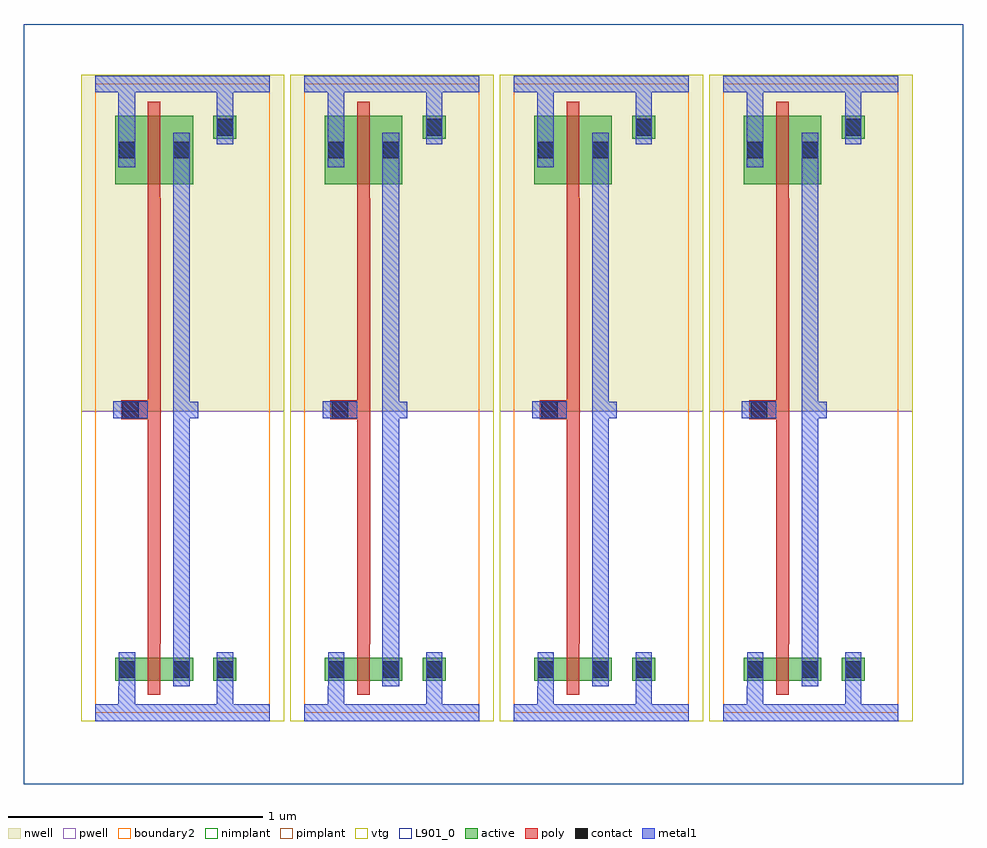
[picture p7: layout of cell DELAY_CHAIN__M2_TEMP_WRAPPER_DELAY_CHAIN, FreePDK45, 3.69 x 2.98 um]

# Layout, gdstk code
import gdstk
lib = gdstk.Library(unit=1e-6, precision=1e-09)
def R(c, l, rs):  # rectangles x0, y0, x1, y1
    for r in rs: c.add(gdstk.rectangle(r[:2], r[2:], *l))
active = (1, 0)
pwell = (2, 0)
nwell = (3, 0)
nimplant = (4, 0)
pimplant = (5, 0)
vtg = (6, 0)
poly = (9, 0)
contact = (10, 0)
metal1 = (11, 0)
boundary2 = (239, 0)
L901_0 = (901, 0)

delay_chain__delay_chain = lib.new_cell('DELAY_CHAIN__DELAY_CHAIN__sram_1rw_32x16_freepdk45_contact_11')
R(delay_chain__delay_chain, active, [(0,0.022,0.09,0.112)])
R(delay_chain__delay_chain, nwell, [(-0.055,-0.033,0.145,0.168)])
R(delay_chain__delay_chain, pimplant, [(0,0.022,0.09,0.112)])
R(delay_chain__delay_chain, contact, [(0.013,0.035,0.077,0.1)])
R(delay_chain__delay_chain, metal1, [(0.013,0,0.077,0.135)])
R(delay_chain__delay_chain, boundary2, [(-0.055,-0.033,0.145,0.168)])

c_delay_chain__delay_chain = lib.new_cell('DELAY_CHAIN__DELAY_CHAIN__sram_1rw_32x16_freepdk45_pmos_m1_w0_270_sm1_dm1_da_p')
R(c_delay_chain__delay_chain, active, [(0,0,0.305,0.27)])
R(c_delay_chain__delay_chain, nwell, [(-0.08,-0.08,0.385,0.35)])
R(c_delay_chain__delay_chain, pimplant, [(0,0,0.305,0.27)])
R(c_delay_chain__delay_chain, vtg, [(-0.08,-0.08,0.385,0.35)])
R(c_delay_chain__delay_chain, poly, [(0.127,-0.055,0.177,0.325), (0.127,-0.055,0.177,0.325)])
R(c_delay_chain__delay_chain, metal1, [(0.013,0.068,0.077,0.203), (0.227,0.068,0.292,0.203)])
R(c_delay_chain__delay_chain, boundary2, [(-0.08,-0.08,0.385,0.35)])
c_delay_chain__delay_chain.add(gdstk.Reference(delay_chain__delay_chain, (0,0.068)))
c_delay_chain__delay_chain.add(gdstk.Reference(delay_chain__delay_chain, (0.215,0.068)))
c_delay_chain__delay_chain.add(gdstk.Label('G', (0.152,0.135), layer=9, texttype=0))
c_delay_chain__delay_chain.add(gdstk.Label('S', (0.045,0.135), layer=11, texttype=0))
c_delay_chain__delay_chain.add(gdstk.Label('D', (0.26,0.135), layer=11, texttype=0))

c_delay_chain__delay_chain_ = lib.new_cell('DELAY_CHAIN__DELAY_CHAIN__sram_1rw_32x16_freepdk45_contact_10')
R(c_delay_chain__delay_chain_, active, [(0,0.022,0.09,0.112)])
R(c_delay_chain__delay_chain_, pwell, [(-0.055,-0.033,0.145,0.168)])
R(c_delay_chain__delay_chain_, nimplant, [(0,0.022,0.09,0.112)])
R(c_delay_chain__delay_chain_, contact, [(0.013,0.035,0.077,0.1)])
R(c_delay_chain__delay_chain_, metal1, [(0.013,0,0.077,0.135)])
R(c_delay_chain__delay_chain_, boundary2, [(-0.055,-0.033,0.145,0.168)])

c_delay_chain__delay_chain__ = lib.new_cell('DELAY_CHAIN__DELAY_CHAIN__sram_1rw_32x16_freepdk45_nmos_m1_w0_090_sm1_dm1_da_p')
R(c_delay_chain__delay_chain__, active, [(0,0,0.305,0.09)])
R(c_delay_chain__delay_chain__, pwell, [(-0.08,-0.08,0.385,0.17)])
R(c_delay_chain__delay_chain__, nimplant, [(0,0,0.305,0.09)])
R(c_delay_chain__delay_chain__, vtg, [(-0.08,-0.08,0.385,0.17)])
R(c_delay_chain__delay_chain__, poly, [(0.127,-0.055,0.177,0.145), (0.127,-0.055,0.177,0.145)])
R(c_delay_chain__delay_chain__, metal1, [(0.013,-0.022,0.077,0.112), (0.227,-0.022,0.292,0.112)])
R(c_delay_chain__delay_chain__, boundary2, [(-0.08,-0.08,0.385,0.17)])
c_delay_chain__delay_chain__.add(gdstk.Reference(c_delay_chain__delay_chain_, (0,-0.022)))
c_delay_chain__delay_chain__.add(gdstk.Reference(c_delay_chain__delay_chain_, (0.215,-0.022)))
c_delay_chain__delay_chain__.add(gdstk.Label('G', (0.152,0.045), layer=9, texttype=0))
c_delay_chain__delay_chain__.add(gdstk.Label('S', (0.045,0.045), layer=11, texttype=0))
c_delay_chain__delay_chain__.add(gdstk.Label('D', (0.26,0.045), layer=11, texttype=0))

c_delay_chain__delay_chain___ = lib.new_cell('DELAY_CHAIN__DELAY_CHAIN__sram_1rw_32x16_freepdk45_contact_12')
R(c_delay_chain__delay_chain___, active, [(0,0.022,0.09,0.112)])
R(c_delay_chain__delay_chain___, nwell, [(-0.055,-0.033,0.145,0.168)])
R(c_delay_chain__delay_chain___, nimplant, [(0,0.022,0.09,0.112)])
R(c_delay_chain__delay_chain___, contact, [(0.013,0.035,0.077,0.1)])
R(c_delay_chain__delay_chain___, metal1, [(0.013,0,0.077,0.135)])
R(c_delay_chain__delay_chain___, boundary2, [(-0.055,-0.033,0.145,0.168)])

c_delay_chain__delay_chain____ = lib.new_cell('DELAY_CHAIN__DELAY_CHAIN__sram_1rw_32x16_freepdk45_contact_13')
R(c_delay_chain__delay_chain____, active, [(0,0.022,0.09,0.112)])
R(c_delay_chain__delay_chain____, pwell, [(-0.055,-0.033,0.145,0.168)])
R(c_delay_chain__delay_chain____, pimplant, [(0,0.022,0.09,0.112)])
R(c_delay_chain__delay_chain____, contact, [(0.013,0.035,0.077,0.1)])
R(c_delay_chain__delay_chain____, metal1, [(0.013,0,0.077,0.135)])
R(c_delay_chain__delay_chain____, boundary2, [(-0.055,-0.033,0.145,0.168)])

c_delay_chain__delay_chain_____ = lib.new_cell('DELAY_CHAIN__DELAY_CHAIN__sram_1rw_32x16_freepdk45_contact_14')
R(c_delay_chain__delay_chain_____, poly, [(0.03,0,0.105,0.075)])
R(c_delay_chain__delay_chain_____, contact, [(0.035,0.005,0.1,0.07)])
R(c_delay_chain__delay_chain_____, metal1, [(0,0.005,0.135,0.07)])
R(c_delay_chain__delay_chain_____, boundary2, [(0,0,0.135,0.075)])

c_delay_chain__delay_chain______ = lib.new_cell('DELAY_CHAIN__DELAY_CHAIN__gen_delay_inv')
R(c_delay_chain__delay_chain______, pwell, [(-0.055,-0.033,0.743,1.185)])
R(c_delay_chain__delay_chain______, nwell, [(-0.055,1.185,0.743,2.505)])
R(c_delay_chain__delay_chain______, vtg, [(-0.055,-0.033,0.743,1.185), (-0.055,1.185,0.743,2.505)])
R(c_delay_chain__delay_chain______, poly, [(0.208,0.27,0.258,2.02), (0.14,1.153,0.208,1.228)])
R(c_delay_chain__delay_chain______, metal1, [(0,-0.033,0.687,0.033), (0.092,-0.033,0.157,0.103), (0.478,0,0.542,0.17), (0.307,0.103,0.372,2.277), (0.072,1.157,0.208,1.222), (0.34,1.157,0.405,1.222), (0.092,2.143,0.157,2.502), (0.478,2.3,0.542,2.47), (0,2.437,0.687,2.502)])
R(c_delay_chain__delay_chain______, boundary2, [(0,0,0.687,2.47), (0,0,0.687,2.47)])
c_delay_chain__delay_chain______.add(gdstk.Reference(c_delay_chain__delay_chain, (0.08,2.075)))
c_delay_chain__delay_chain______.add(gdstk.Reference(c_delay_chain__delay_chain__, (0.08,0.125)))
c_delay_chain__delay_chain______.add(gdstk.Reference(c_delay_chain__delay_chain___, (0.465,2.232)))
c_delay_chain__delay_chain______.add(gdstk.Reference(c_delay_chain__delay_chain____, (0.465,0.103)))
c_delay_chain__delay_chain______.add(gdstk.Reference(c_delay_chain__delay_chain_____, (0.072,1.153)))
c_delay_chain__delay_chain______.add(gdstk.Label('A', (0.14,1.19), layer=11, texttype=0))
c_delay_chain__delay_chain______.add(gdstk.Label('Z', (0.372,1.19), layer=11, texttype=0))
c_delay_chain__delay_chain______.add(gdstk.Label('gnd', (0.345,0), layer=11, texttype=0))
c_delay_chain__delay_chain______.add(gdstk.Label('vdd', (0.345,2.47), layer=11, texttype=0))

c_delay_chain__delay_chain_______ = lib.new_cell('DELAY_CHAIN__DELAY_CHAIN__DELAY_CHAIN')
c_delay_chain__delay_chain_______.add(gdstk.Reference(c_delay_chain__delay_chain______, (0.08,0.08)))
c_delay_chain__delay_chain_______.add(gdstk.Reference(c_delay_chain__delay_chain______, (0.902,0.08)))
c_delay_chain__delay_chain_______.add(gdstk.Reference(c_delay_chain__delay_chain______, (1.725,0.08)))
c_delay_chain__delay_chain_______.add(gdstk.Reference(c_delay_chain__delay_chain______, (2.548,0.08)))

delay_chain__m2_temp_wra = lib.new_cell('DELAY_CHAIN__M2_TEMP_WRAPPER_DELAY_CHAIN')
R(delay_chain__m2_temp_wra, L901_0, [(-0.2,-0.2,3.49,2.785)])
delay_chain__m2_temp_wra.add(gdstk.Reference(c_delay_chain__delay_chain_______, (0,0)))
delay_chain__m2_temp_wra.add(gdstk.Label('TEMP_WRAPPER_FOR_M2_REVIEW', (0,3.085), layer=900, texttype=0))
delay_chain__m2_temp_wra.add(gdstk.Label('DELAY_CHAIN candidate composite', (0,3.685), layer=900, texttype=0))

lib.write_gds('DELAY_CHAIN__M2_TEMP_WRAPPER_DELAY_CHAIN.gds')
